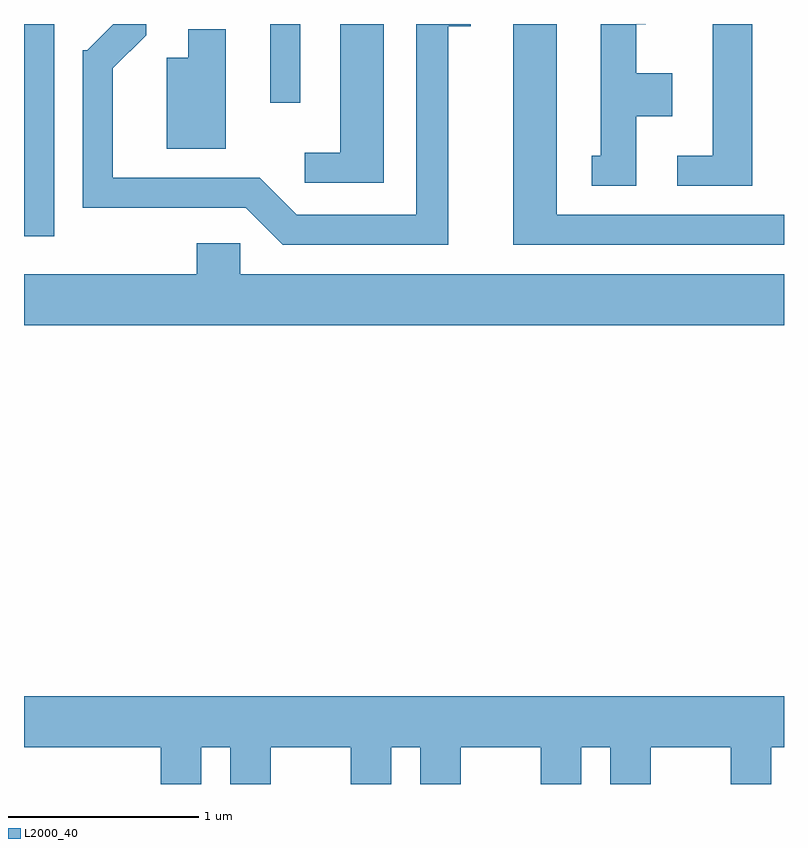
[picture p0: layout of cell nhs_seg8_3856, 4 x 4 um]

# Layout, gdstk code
import gdstk
lib = gdstk.Library(unit=1e-6, precision=1e-09)
def R(c, l, rs):  # rectangles x0, y0, x1, y1
    for r in rs: c.add(gdstk.rectangle(r[:2], r[2:], *l))
def P(c, l, *ps):  # polygons
    for p in ps: c.add(gdstk.Polygon(p, *l))
L2000_40 = (2000, 40)

nhs_seg8_3856 = lib.new_cell('nhs_seg8_3856')
R(nhs_seg8_3856, L2000_40, [(299.611,1941.226,299.769,1942.342), (300.906,1941.928,301.064,1942.342)])
P(nhs_seg8_3856, L2000_40, [(301.504,1942.342),(301.276,1942.342),(301.276,1941.664),(301.088,1941.664),(301.088,1941.506),(301.504,1941.506)],
  [(301.844,1942.331),(301.963,1942.331),(301.963,1942.342),(301.676,1942.342),(301.676,1941.339),(301.047,1941.339),(300.852,1941.534),(300.079,1941.534),(300.079,1942.109),(300.254,1942.284),(300.254,1942.342),(300.081,1942.342),(299.944,1942.204),(299.921,1942.204),(299.921,1941.376),(300.779,1941.376),(300.974,1941.181),(301.844,1941.181)],
  [(302.834,1941.856),(303.024,1941.856),(303.024,1942.084),(302.834,1942.084),(302.834,1942.341),(302.883,1942.341),(302.883,1942.342),(302.646,1942.342),(302.646,1941.649),(302.598,1941.649),(302.598,1941.491),(302.834,1941.491)],
  [(303.611,1941.339),(302.414,1941.339),(302.414,1942.342),(302.186,1942.342),(302.186,1941.181),(303.611,1941.181)],
  [(303.444,1942.342),(303.236,1942.342),(303.236,1941.649),(303.048,1941.649),(303.048,1941.491),(303.444,1941.491)],
  [(300.674,1942.314),(300.476,1942.314),(300.476,1942.164),(300.361,1942.164),(300.361,1941.686),(300.674,1941.686)],
  [(303.611,1941.024),(300.749,1941.024),(300.749,1941.189),(300.521,1941.189),(300.521,1941.024),(299.611,1941.024),(299.611,1940.756),(303.611,1940.756)],
  [(300.544,1938.536),(300.696,1938.536),(300.696,1938.342),(300.909,1938.342),(300.909,1938.536),(301.331,1938.536),(301.331,1938.342),(301.544,1938.342),(301.544,1938.536),(301.696,1938.536),(301.696,1938.342),(301.909,1938.342),(301.909,1938.536),(302.331,1938.536),(302.331,1938.342),(302.544,1938.342),(302.544,1938.536),(302.696,1938.536),(302.696,1938.342),(302.909,1938.342),(302.909,1938.536),(303.331,1938.536),(303.331,1938.342),(303.544,1938.342),(303.544,1938.536),(303.611,1938.536),(303.611,1938.804),(299.611,1938.804),(299.611,1938.536),(300.331,1938.536),(300.331,1938.342),(300.544,1938.342)])

lib.write_gds('nhs_seg8_3856.gds')
